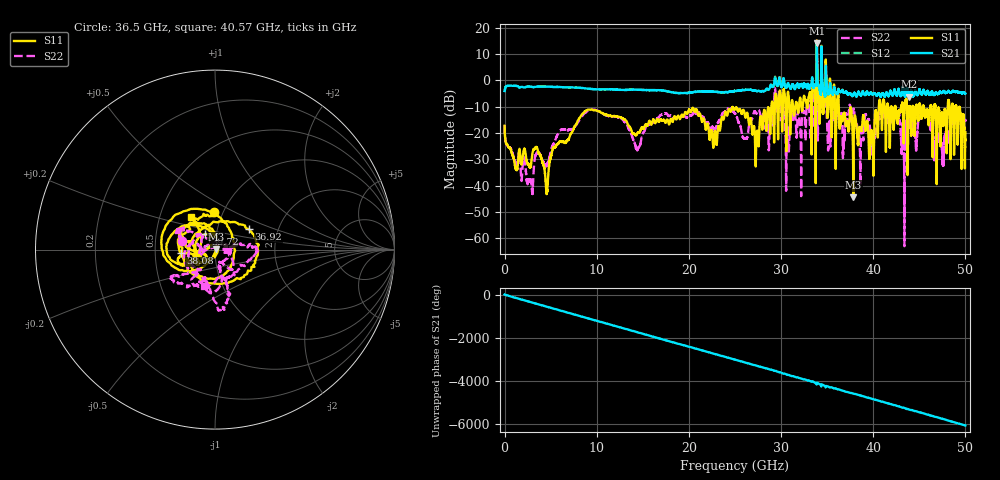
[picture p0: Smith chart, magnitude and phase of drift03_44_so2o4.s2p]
!Created with skrf (http://scikit-rf.org).
# Hz S RI R 50.0
!freq ReS11 ImS11 ReS21 ImS21 ReS12 ImS12 ReS22 ImS22
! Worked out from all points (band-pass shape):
!   10001 points, 300 kHz to 50 GHz, reference 50 ohm
!   highest |S21| = 14.28 dB at 33.88 GHz (marker M1); lowest = -6.2 dB at 43.89 GHz (marker M2)
!   |S21| within 3 dB of the highest: 33.86897 GHz to 33.88859 GHz (19.62 MHz wide, 0.0579 % of centre); 34.37668 GHz to 34.38919 GHz (12.52 MHz wide, 0.0364 % of centre)
!   lowest |S11| = -44.4 dB at 37.84 GHz (marker M3), VSWR 1.01, Z = 50.6 + j0.092 ohm
!   |S11| at or under -10 dB: start of sweep to 28.94 GHz; 36.27 GHz to 40.61 GHz (4.34 GHz wide, 11.3 % of centre); 46.75 GHz to 48.08 GHz (1.328 GHz wide, 2.8 % of centre) (the widest 3 of 59)
!   |S22| runs from -63.0 to 11.0 dB; largest |S21 - S12| = 0.83
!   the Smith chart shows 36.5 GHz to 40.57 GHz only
!   S11 on the Smith chart (normalised r, x): 36.5 GHz: 0.91, +0.39; 36.92 GHz: 1.42, +0.34; 38.08 GHz: 0.68, -0.03; 39.72 GHz: 0.88, +0.15; 40.57 GHz: 0.72, +0.28
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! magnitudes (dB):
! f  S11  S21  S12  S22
! 300 kHz  -17.2  -4.0  -4.0  -16.9
! 2.825 GHz  -32.6  -2.4  -2.4  -38.3
! 4.565 GHz  -42.5  -2.3  -2.3  -32.3
! 8.335 GHz  -13.1  -2.8  -2.8  -13.9
! 14.44 GHz  -19.9  -3.5  -3.5  -26.2
! 16.67 GHz  -15.4  -3.7  -3.7  -14.3
! 22.82 GHz  -19.3  -4.3  -4.3  -19.1
! 25 GHz  -11.0  -4.0  -4.0  -12.5
! 27.39 GHz  -19.4  -4.1  -4.1  -12.4
! 29.6 GHz  -10.4  -2.0  -2.1  -11.7
! 30.7 GHz  -5.5  -1.4  -1.4  -17.3
! 33.34 GHz  -14.2  -0.4  -0.5  -6.9
! 33.88 GHz  15.2  14.3  13.9  10.8
! 36.5 GHz  -13.7  -4.4  -4.4  -14.4
! 36.92 GHz  -13.1  -4.4  -4.4  -17.7
! 37.84 GHz  -44.4  -5.5  -5.5  -11.2
! 38.08 GHz  -14.3  -5.5  -5.5  -17.0
! 39.72 GHz  -19.8  -4.6  -4.6  -20.9
! 40.57 GHz  -12.9  -4.8  -4.9  -13.6
! 41.67 GHz  -12.1  -6.0  -6.0  -15.3
! 43.89 GHz  -9.8  -6.2  -6.2  -16.6
! 50 GHz  -19.7  -4.9  -4.9  -15.1
